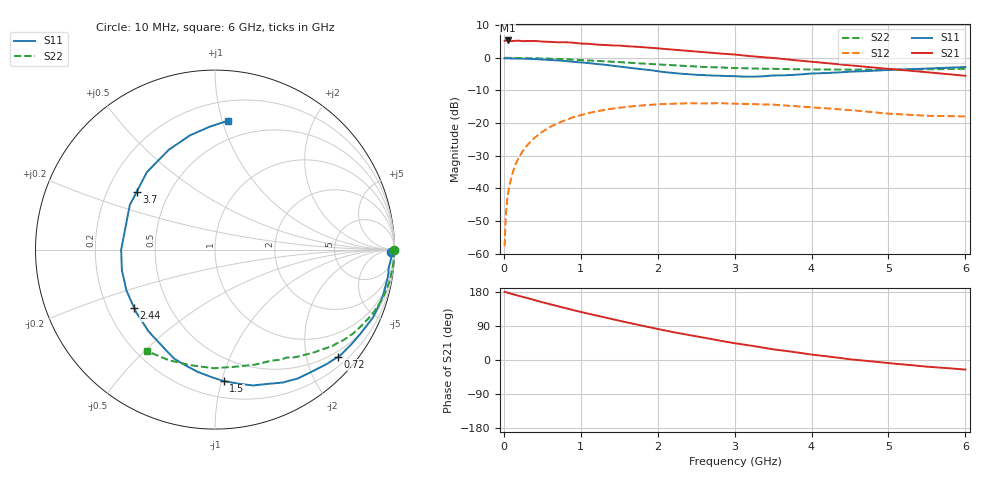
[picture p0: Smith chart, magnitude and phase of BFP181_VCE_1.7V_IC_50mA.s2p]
! Infineon Technologies  Discrete & RF Semiconductors
! BFP181
! VCE = 1.7 V,  IC =  50 mA
! Common Emitter S-Parameters:  Jan 2016
# GHz  S  MA  R  50
!  f  S11  S21  S12  S22
! GHz  MAG  ANG  MAG  ANG  MAG  ANG  MAG  ANG
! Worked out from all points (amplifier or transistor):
!   210 points, 10 MHz to 6 GHz, reference 50 ohm
!   highest |S21| = 5.3 dB at 50 MHz (marker M1)
!   |S21| within 3 dB of that: start of sweep to 2.297 GHz
!   unconditionally stable (mu >= 1): 3.637 GHz to end of sweep
!   at 185 MHz: K = 0.07, MSG = 18.1 dB, |S12| = -31.0 dB
!   at 1.52 GHz: K = 0.47, MSG = 9.5 dB, |S12| = -15.2 dB
!   at 6 GHz: K = 1.47, MAG = 2.2 dB, |S12| = -18.0 dB
!   S11 on the Smith chart (normalised r, x): 10 MHz: 69, -38; 720 MHz: 0.38, -2.61; 1.5 GHz: 0.32, -1.02; 2.44 GHz: 0.31, -0.29; 3.7 GHz: 0.33, +0.30; 6 GHz: 0.35, +1.04
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0.01  0.9782 -0.7  1.819 179.8  0.0013 89.3  0.9996 -0.2
0.015  0.9806 -0.9  1.825 179.7  0.002 86.2  0.9994 -0.4
0.025  0.983 -1.3  1.833 179.2  0.0036 86.8  0.9991 -0.7
0.05  0.9828 -2.7  1.842 177.3  0.0077 90.5  0.998 -1.4
0.09  0.9751 -5.2  1.805 175.2  0.0135 86.0  0.9977 -2.5
0.13  0.9743 -7.6  1.812 172.9  0.0197 84.1  0.997 -3.6
0.24  0.971 -13.9  1.801 166.8  0.0364 80.2  0.9933 -6.8
0.4  0.9579 -23.2  1.816 157.9  0.0594 74.0  0.9861 -11.2
0.72  0.9085 -41.2  1.725 141.0  0.1016 60.8  0.9583 -19.7
0.9  0.8686 -51.4  1.705 131.6  0.1224 53.8  0.9368 -24.2
1.02  0.8483 -58.4  1.647 126.0  0.1339 49.4  0.9212 -27.1
1.5  0.7344 -86.2  1.54 103.7  0.1716 33.6  0.8564 -37.5
1.7  0.688 -98.1  1.486 94.9  0.1819 27.6  0.8287 -41.5
2.02  0.6173 -117.5  1.388 81.0  0.1944 19.5  0.7901 -46.8
2.44  0.5551 -144.3  1.262 64.7  0.2006 9.0  0.7422 -54.0
2.8  0.5316 -167.3  1.165 51.3  0.2015 1.4  0.7128 -59.5
3.1  0.5157 174.7  1.09 41.4  0.1965 -4.3  0.6906 -64.3
3.7  0.5421 143.7  0.94 23.1  0.1846 -13.1  0.6701 -74.4
4.1  0.5781 127.9  0.85 12.1  0.1715 -17.9  0.6603 -82.3
4.5  0.6127 114.9  0.767 1.9  0.1579 -21.6  0.661 -90.7
5.1  0.6566 100.3  0.661 -10.1  0.1373 -21.3  0.6579 -103.7
6  0.7213 84.4  0.53 -25.3  0.1262 -14.4  0.6807 -123.7
